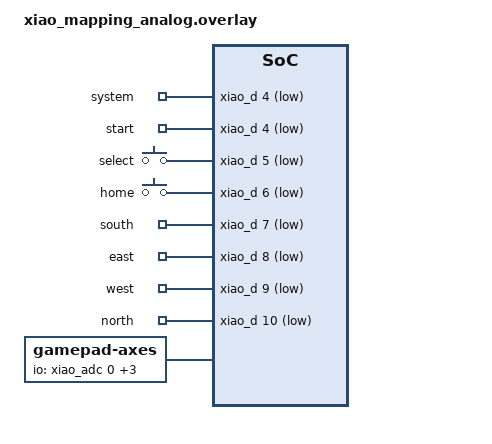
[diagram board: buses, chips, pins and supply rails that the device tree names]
/ {
    gamepad-buttons {
        compatible = "gpio-keys";
        /* same as start */
        system { gpios = <&xiao_d 4 (GPIO_PULL_UP | GPIO_ACTIVE_LOW)>; };
        start { gpios = <&xiao_d 4 (GPIO_PULL_UP | GPIO_ACTIVE_LOW)>; };
        select { gpios = <&xiao_d 5 (GPIO_PULL_UP | GPIO_ACTIVE_LOW)>; };
        home { gpios = <&xiao_d 6 (GPIO_PULL_UP | GPIO_ACTIVE_LOW)>; };
        south { gpios = <&xiao_d 7 (GPIO_PULL_UP | GPIO_ACTIVE_LOW)>; };
        east { gpios = <&xiao_d 8 (GPIO_PULL_UP | GPIO_ACTIVE_LOW)>; };
        west { gpios = <&xiao_d 9 (GPIO_PULL_UP | GPIO_ACTIVE_LOW)>; };
        north { gpios = <&xiao_d 10 (GPIO_PULL_UP | GPIO_ACTIVE_LOW)>; };
    };

    gamepad-axes {
        compatible = "gamepad-axes";
        io-channels = <&xiao_adc 0>, <&xiao_adc 1>, <&xiao_adc 2>, <&xiao_adc 3>;
        io-channel-names = "left-stick-x", "left-stick-y", "right-stick-x", "right-stick-y";

        // full range is 0-65535
        left-stick-x-center = <32768>;
        left-stick-y-center = <32768>;
        left-stick-inner-radius = <2048>;
        left-stick-outer-radius = <30720>;
        right-stick-x-center = <32768>;
        right-stick-y-center = <32768>;
        right-stick-inner-radius = <2048>;
        right-stick-outer-radius = <30720>;
        left-trigger-lower-end = <4096>;
        left-trigger-upper-end = <61440>;
        right-trigger-lower-end = <4096>;
        right-trigger-upper-end = <61440>;
    };
};
